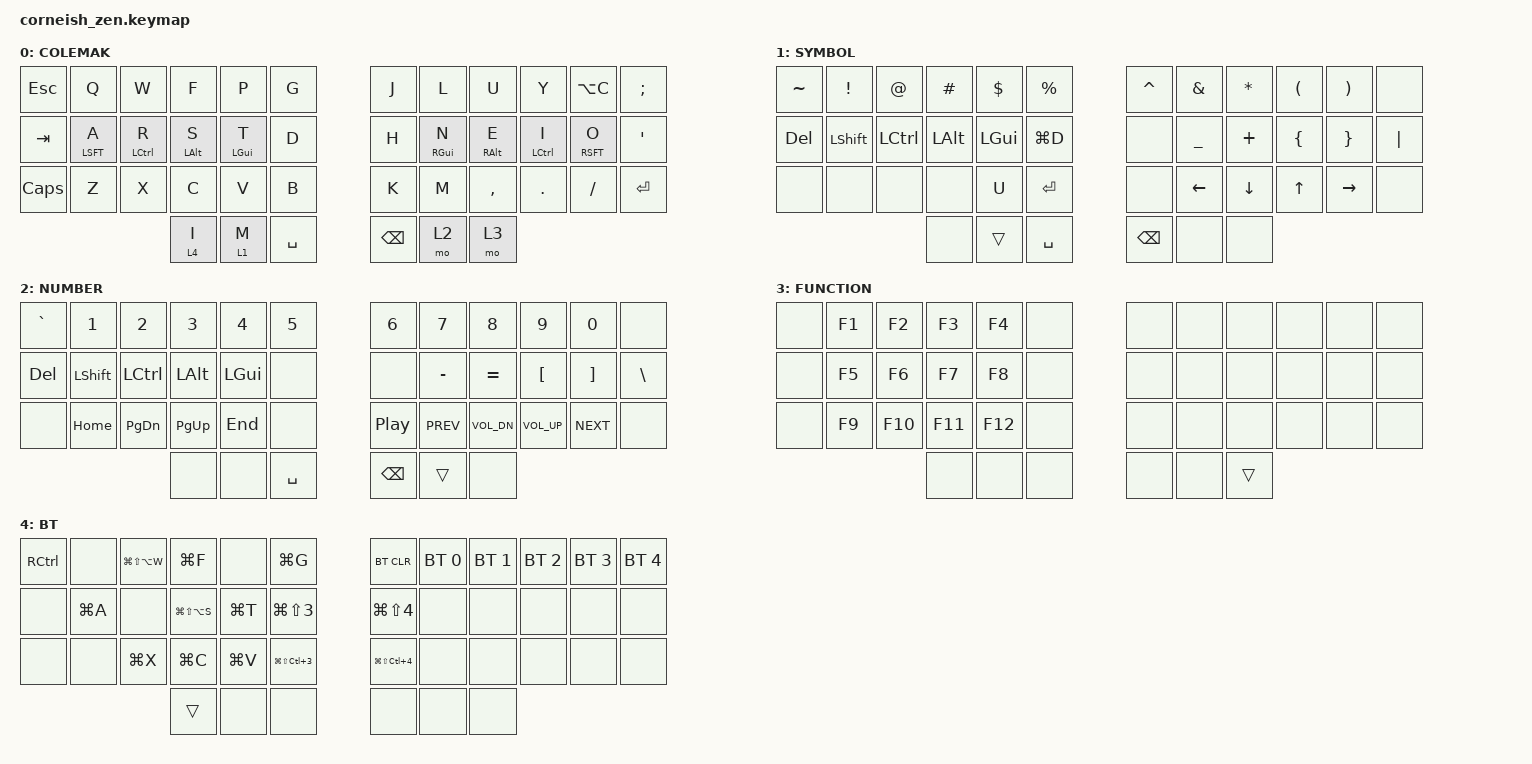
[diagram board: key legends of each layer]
#include <behaviors.dtsi>
#include <dt-bindings/zmk/keys.h>
#include <dt-bindings/zmk/bt.h>

#define PRINT_1    LG(LS(N3))
#define PRINT_2    LG(LS(N4))
#define PRINT_3    LG(LS(LC(N3)))
#define PRINT_4    LG(LS(LC(N4)))
#define EXP_AS     LG(LS(LA(W)))
#define EXP_WEB    LG(LS(LA(S)))
#define BRCCED     LA(C)
#define COPY       LG(C)
#define PASTE      LG(V)
#define GROUP      LG(G)
#define TSFM       LG(T)
#define SELALL     LG(A)
#define PINP       LG(F)
#define CUT        LG(X)
#define DESEL      LG(D)

/ {
  chosen {
    zmk,matrix_transform = &default_transform;
    //zmk,matrix_transform = &five_column_transform;
  };
};


/ {
    behaviors {
        hm: homerow_mods {
            compatible = "zmk,behavior-hold-tap";
            label = "HOMEROW_MODS";
            #binding-cells = <2>;
            tapping-term-ms = <200>;
            quick-tap-ms = <0>;
            flavor = "tap-preferred";
            bindings = <&kp>, <&kp>;
        };
    };
};


/ {
        keymap {
                compatible = "zmk,keymap";

                default_layer {
                        label = "COLEMAK";
                        bindings = <

   &kp ESC          &kp Q              &kp W              &kp F              &kp P              &kp G                 &kp J          &kp L              &kp U              &kp Y              &kp BRCCED            &kp SEMI
   &kp TAB          &hm LSFT A         &hm LCTL R         &hm LALT S         &hm LGUI T         &kp D                 &kp H          &hm RGUI N         &hm RALT E         &hm LCTL I         &hm RSFT O            &kp SQT
   &kp CAPS         &kp Z              &kp X              &kp C              &kp V              &kp B                 &kp K          &kp M              &kp COMMA          &kp DOT            &kp FSLH              &kp ENTER
                                                          &lt 4 I            &lt 1 M            &kp SPACE             &kp BSPC       &mo 2              &mo 3
                        >;
                };

                lower_layer {
                        label = "SYMBOL";
                        bindings = <

   &kp TILDE        &kp EXCL       &kp AT         &kp HASH       &kp DLLR       &kp PRCNT                             &kp CARET      &kp AMPS       &kp ASTRK      &kp LPAR        &kp RPAR        &none
   &kp DEL          &kp LSHFT      &kp LCTL       &kp LALT       &kp LGUI       &kp DESEL                             &none          &kp UNDER      &kp PLUS       &kp LBRC        &kp RBRC        &kp PIPE
   &none            &none          &none          &none          &kp U          &kp ENTER                             &none          &kp LEFT       &kp DOWN       &kp UP          &kp RIGHT       &none
                                                  &none          &trans         &kp SPACE                             &kp BSPC       &none          &none 
                        >;
                };

                raise_layer {
                        label = "NUMBER";
                        bindings = <

   &kp GRAVE        &kp N1         &kp N2         &kp N3         &kp N4         &kp N5                                &kp N6         &kp N7         &kp N8         &kp N9          &kp N0          &none
   &kp DEL          &kp LSHFT      &kp LCTL       &kp LALT       &kp LGUI       &none                                 &none          &kp MINUS      &kp EQUAL      &kp LBKT        &kp RBKT        &kp BSLH
   &none            &kp HOME       &kp PG_DN      &kp PG_UP      &kp END        &none                                 &kp C_PP       &kp C_PREV     &kp C_VOL_DN   &kp C_VOL_UP    &kp C_NEXT      &none
                                                  &none          &none          &kp SPACE                             &kp BSPC       &trans         &none
                        >;
                };

                fn_layer {
                        label = "FUNCTION";
                        bindings = <

   &none            &kp F1         &kp F2         &kp F3         &kp F4         &none                                 &none          &none          &none          &none           &none           &none
   &none            &kp F5         &kp F6         &kp F7         &kp F8         &none                                 &none          &none          &none          &none           &none           &none
   &none            &kp F9         &kp F10        &kp F11        &kp F12        &none                                 &none          &none          &none          &none           &none           &none
                                                  &none          &none          &none                                 &none          &none          &trans  
                        >;
                };

                BT_layer {
                        label = "BT";
                        bindings = <

   &kp RCTL         &none          &kp EXP_AS     &kp PINP       &none          &kp GROUP                             &bt BT_CLR     &bt BT_SEL 0   &bt BT_SEL 1    &bt BT_SEL 2    &bt BT_SEL 3   &bt BT_SEL 4
   &none            &kp SELALL     &none          &kp EXP_WEB    &kp TSFM       &kp PRINT_1                           &kp PRINT_2    &none          &none           &none           &none          &none
   &none            &none          &kp CUT        &kp COPY       &kp PASTE      &kp PRINT_3                           &kp PRINT_4    &none          &none           &none           &none          &none
                                                  &trans         &none          &none                                 &none          &none          &none
                        >;
                 };
            };
};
